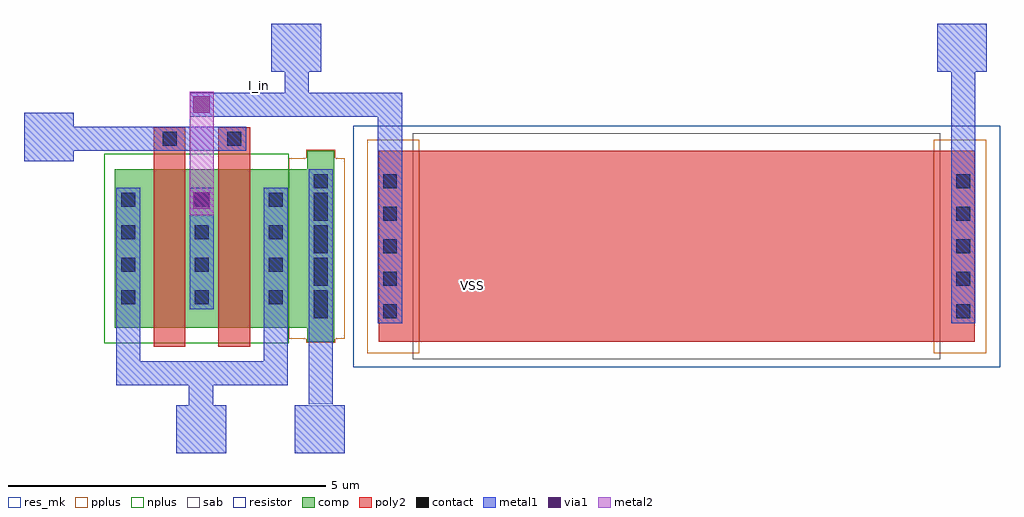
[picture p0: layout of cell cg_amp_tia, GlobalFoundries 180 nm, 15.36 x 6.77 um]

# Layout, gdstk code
import gdstk
lib = gdstk.Library(unit=1e-6, precision=5e-09)
def R(c, l, rs):  # rectangles x0, y0, x1, y1
    for r in rs: c.add(gdstk.rectangle(r[:2], r[2:], *l))
def A(c, l, x, y, w, h, nx, ny, dx, dy):  # array of equal rectangles
    R(c, l, [(x+i*dx, y+j*dy, x+i*dx+w, y+j*dy+h) for i in range(nx) for j in range(ny)])
comp = (22, 0)
poly2 = (30, 0)
pplus = (31, 0)
nplus = (32, 0)
contact = (33, 0)
metal1 = (34, 0)
via1 = (35, 0)
metal2 = (36, 0)
sab = (49, 0)
resistor = (62, 0)
res_mk = (110, 5)

nfet = lib.new_cell('nfet')
R(nfet, comp, [(-0.42,0,0,2.5), (0,0,1.9,2.5), (1.9,0,2.32,2.5), (2.32,0,3.03,2.5)])
R(nfet, poly2, [(0.19,-0.3,0.69,2.8), (1.21,-0.3,1.71,2.8), (0.19,2.8,0.69,3.16), (1.21,2.8,1.71,3.16)])
R(nfet, pplus, [(2.32,-0.17,3.2,2.67)])
R(nfet, nplus, [(-0.59,-0.24,2.32,2.74)])
A(nfet, contact, -0.32, 0.375, 0.22, 0.22, 3, 4, 1.16, 0.51)
A(nfet, contact, 2.71, 0.375, 0.22, 0.22, 1, 4, 0, 0.51)
R(nfet, contact, [(0.33,2.87,0.55,3.09), (1.35,2.87,1.57,3.09)])
A(nfet, metal1, -0.4, 0.295, 0.38, 1.91, 3, 1, 1.16, 0)
R(nfet, metal1, [(2.63,0.295,3.01,2.205), (0.25,2.79,0.63,3.17), (1.27,2.79,1.65,3.17)])

ppolyf_u_high_rs_resisto = lib.new_cell('ppolyf_u_high_Rs_resistor')
R(ppolyf_u_high_rs_resisto, comp, [(-1.76,0,-1.34,3)])
R(ppolyf_u_high_rs_resisto, poly2, [(-0.64,0,8.74,3)])
R(ppolyf_u_high_rs_resisto, pplus, [(-0.82,-0.18,0,3.18), (8.1,-0.18,8.92,3.18), (-1.78,-0.02,-1.32,3.02)])
A(ppolyf_u_high_rs_resisto, contact, -1.66, 0.37, 0.22, 0.22, 1, 5, 0, 0.51)
A(ppolyf_u_high_rs_resisto, contact, -0.57, 0.37, 0.22, 0.22, 1, 5, 0, 0.51)
A(ppolyf_u_high_rs_resisto, contact, 8.45, 0.37, 0.22, 0.22, 1, 5, 0, 0.51)
R(ppolyf_u_high_rs_resisto, metal1, [(-1.74,0.29,-1.36,2.71), (-0.65,0.29,-0.27,2.71), (8.37,0.29,8.75,2.71)])
R(ppolyf_u_high_rs_resisto, sab, [(-0.1,-0.28,8.2,3.28)])
R(ppolyf_u_high_rs_resisto, resistor, [(-1.04,-0.4,9.14,3.4)])
R(ppolyf_u_high_rs_resisto, res_mk, [(0,0,8.1,3)])

cg_amp_tia = lib.new_cell('cg_amp_tia')
R(cg_amp_tia, metal1, [(1.135,-0.745,1.92,0.015), (3,-0.745,3.785,0.015), (-1.26,3.855,-0.475,4.615), (-0.475,4.02,2.24,4.4), (2.635,5.26,3.42,6.02), (13.11,5.26,13.895,6.02)])
R(cg_amp_tia, via1, [(1.405,3.105,1.665,3.365), (1.405,4.615,1.665,4.875)])
R(cg_amp_tia, metal2, [(1.35,3.005,1.73,4.95)])
cg_amp_tia.add(gdstk.FlexPath([(0.38,1.525),(0.38,0.515),(2.7,0.515),(2.7,1.525)], 0.38, ends="flush", simple_path=True, layer=34, datatype=0))  # metal1
cg_amp_tia.add(gdstk.FlexPath([(1.35,4.745),(4.5,4.745),(4.5,3.725)], 0.38, ends="flush", simple_path=True, layer=34, datatype=0))  # metal1
cg_amp_tia.add(gdstk.FlexPath([(1.525,0.325),(1.525,0.01)], 0.38, ends="flush", simple_path=True, layer=34, datatype=0))  # metal1
cg_amp_tia.add(gdstk.FlexPath([(3.41,1.305),(3.41,0.03)], 0.38, ends="flush", simple_path=True, layer=34, datatype=0))  # metal1
cg_amp_tia.add(gdstk.FlexPath([(3.03,4.935),(3.03,5.26)], 0.38, ends="flush", simple_path=True, layer=34, datatype=0))  # metal1
cg_amp_tia.add(gdstk.FlexPath([(13.52,3.725),(13.52,5.26)], 0.38, ends="flush", simple_path=True, layer=34, datatype=0))  # metal1
cg_amp_tia.add(gdstk.Reference(nfet, (0.59,1.23)))
cg_amp_tia.add(gdstk.Reference(ppolyf_u_high_rs_resisto, (4.96,1.015)))
cg_amp_tia.add(gdstk.Label('V_ref', (17.205,4.135), layer=34, texttype=10))
cg_amp_tia.add(gdstk.Label('V_bias', (3.795,8.555), layer=34, texttype=10))
cg_amp_tia.add(gdstk.Label('I_in', (2.44,5.05), layer=34, texttype=10))
cg_amp_tia.add(gdstk.Label('V_out', (5.8,8.23), layer=34, texttype=10))
cg_amp_tia.add(gdstk.Label('VSS', (5.8,1.905), layer=34, texttype=10))

lib.write_gds('cg_amp_tia.gds')
